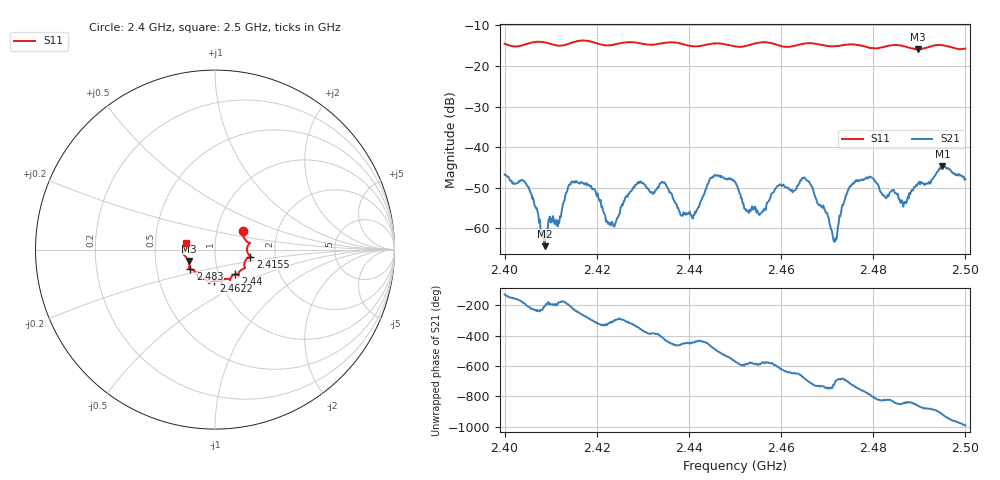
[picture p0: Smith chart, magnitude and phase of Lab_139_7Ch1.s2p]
# Hz S RI R 50
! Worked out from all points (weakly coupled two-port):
!   601 points, 2.4 GHz to 2.5 GHz, reference 50 ohm
!   highest |S21| = -44.71 dB at 2.495 GHz (marker M1); lowest = -64.4 dB at 2.4087 GHz (marker M2)
!   lowest |S11| = -15.9 dB at 2.4897 GHz (marker M3), VSWR 1.38, Z = 36.9 - j4.81 ohm
!   |S11| at or under -10 dB: start of sweep to end of sweep
!   S12 and S22 are empty: the file has one direction only
!   S11 on the Smith chart (normalised r, x): 2.4 GHz: 1.33, +0.29; 2.4155 GHz: 1.49, -0.12; 2.44 GHz: 1.20, -0.34; 2.4622 GHz: 0.93, -0.33; 2.483 GHz: 0.74, -0.17; 2.5 GHz: 0.72, +0.06
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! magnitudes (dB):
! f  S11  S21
! 2.4 GHz  -14.5  -46.7
! 2.4048 GHz  -14.5  -49.4
! 2.4087 GHz  -14.1  -64.4
! 2.4155 GHz  -13.9  -48.4
! 2.4167 GHz  -13.7  -48.6
! 2.4235 GHz  -14.8  -59.0
! 2.4288 GHz  -14.3  -48.8
! 2.4333 GHz  -14.6  -50.1
! 2.44 GHz  -15.0  -56.4
! 2.4452 GHz  -14.5  -47.2
! 2.45 GHz  -15.1  -48.5
! 2.4552 GHz  -14.2  -56.5
! 2.4622 GHz  -15.2  -50.7
! 2.4667 GHz  -14.4  -49.7
! 2.4717 GHz  -15.1  -63.2
! 2.4758 GHz  -14.7  -48.9
! 2.483 GHz  -15.1  -52.1
! 2.4833 GHz  -15.0  -52.0
! 2.4868 GHz  -15.2  -53.5
! 2.4897 GHz  -15.9  -49.0
! 2.495 GHz  -14.8  -44.7
! 2.5 GHz  -15.7  -47.9
